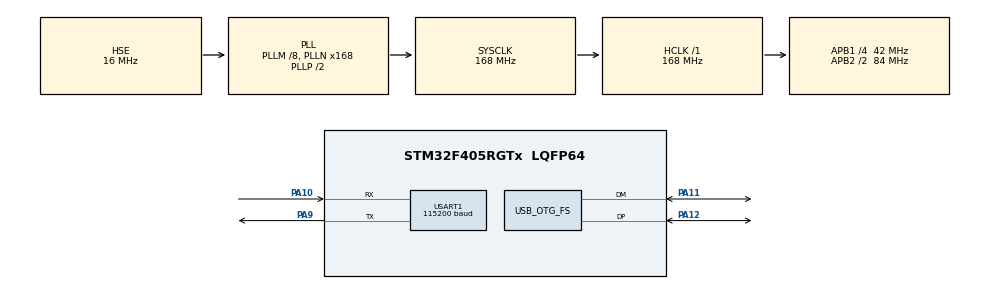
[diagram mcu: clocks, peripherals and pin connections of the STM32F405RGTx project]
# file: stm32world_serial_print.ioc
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Mcu.Family=STM32F4
Mcu.Name=STM32F405RGTx
Mcu.Package=LQFP64
NVIC.OTG_FS_IRQn=true\:0\:0\:false\:false\:true\:false\:true\:true
NVIC.PriorityGroup=NVIC_PRIORITYGROUP_4
PA10.Mode=Asynchronous
PA10.Signal=USART1_RX
PA11.Mode=Device_Only
PA11.Signal=USB_OTG_FS_DM
PA12.Mode=Device_Only
PA12.Signal=USB_OTG_FS_DP
PA13.Mode=Trace_Asynchronous_SW
PA13.Signal=SYS_JTMS-SWDIO
PA14.Mode=Trace_Asynchronous_SW
PA14.Signal=SYS_JTCK-SWCLK
PA9.Mode=Asynchronous
PA9.Signal=USART1_TX
PB3.Mode=Trace_Asynchronous_SW
PB3.Signal=SYS_JTDO-SWO
PH0-OSC_IN.Mode=HSE-External-Oscillator
PH0-OSC_IN.Signal=RCC_OSC_IN
PH1-OSC_OUT.Mode=HSE-External-Oscillator
PH1-OSC_OUT.Signal=RCC_OSC_OUT
ProjectManager.HeapSize=0x200
ProjectManager.StackSize=0x400
ProjectManager.TargetToolchain=STM32CubeIDE
RCC.48MHZClocksFreq_Value=48000000
RCC.AHBFreq_Value=168000000
RCC.APB1CLKDivider=RCC_HCLK_DIV4
RCC.APB1Freq_Value=42000000
RCC.APB1TimFreq_Value=84000000
RCC.APB2CLKDivider=RCC_HCLK_DIV2
RCC.APB2Freq_Value=84000000
RCC.APB2TimFreq_Value=168000000
RCC.CortexFreq_Value=168000000
RCC.HCLKFreq_Value=168000000
RCC.HSE_VALUE=16000000
RCC.HSI_VALUE=16000000
RCC.LSE_VALUE=32768
RCC.PLLM=8
RCC.PLLN=168
RCC.PLLQ=7
RCC.PLLSourceVirtual=RCC_PLLSOURCE_HSE
RCC.SYSCLKFreq_VALUE=168000000
RCC.SYSCLKSource=RCC_SYSCLKSOURCE_PLLCLK
RCC.VCOOutputFreq_Value=336000000
USART1.BaudRate=115200
USART1.VirtualMode=VM_ASYNC
USB_DEVICE.CLASS_NAME_FS=CDC
USB_DEVICE.MANUFACTURER_STRING-CDC_FS=STM32World
USB_DEVICE.PRODUCT_STRING_CDC_FS=Virtual ComPort
USB_DEVICE.VirtualMode-CDC_FS=Cdc
USB_DEVICE.VirtualModeFS=Cdc_FS
USB_OTG_FS.VirtualMode=Device_Only
VP_USB_DEVICE_VS_USB_DEVICE_CDC_FS.Mode=CDC_FS
board=custom

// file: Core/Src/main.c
/* USER CODE BEGIN Header */
/**
 ******************************************************************************
 * @file           : main.c
 * @brief          : Main program body
 ******************************************************************************
 * @attention
 *
 * Copyright (c) 2024 Lars Boegild Thomsen <lbthomsen@gmail.com>
 * All rights reserved.
 *
 * This software is licensed under terms that can be found in the LICENSE file
 * in the root directory of this software component.
 * If no LICENSE file comes with this software, it is provided AS-IS.
 *
 ******************************************************************************
 */
/* USER CODE END Header */
#include "main.h"
#include "usb_device.h"

/* USER CODE BEGIN Includes */
#include <stdio.h>
#include "usbd_cdc_if.h"
/* USER CODE END Includes */

UART_HandleTypeDef huart1;

void SystemClock_Config(void);
static void MX_GPIO_Init(void);
static void MX_USART1_UART_Init(void);

/* USER CODE BEGIN 0 */

//int __io_putchar(int ch) {
//    if (HAL_UART_Transmit(&huart1, (uint8_t *)&ch, 1, HAL_MAX_DELAY) != HAL_OK) {
//        return -1;
//    }
//    return ch;
//}

int _write(int fd, char *ptr, int len) {
    HAL_StatusTypeDef hstatus;

    if (fd == 1 || fd == 2) {
      hstatus = HAL_UART_Transmit(&huart1, (uint8_t *) ptr, len, HAL_MAX_DELAY);
      if (hstatus == HAL_OK)
        return len;
      else
        return -1;
    }
    return -1;
}

//int __io_putchar(int ch) {
//    ITM_SendChar(ch);
//    return ch;
//}

//int _write(int file, char *ptr, int len) {
//    uint8_t status;
//    while((status = CDC_Transmit_FS((uint8_t*)ptr, len)) != HAL_OK) {
//        if (status == HAL_ERROR) return 0; // Should prevent "hanging"
//    }
//    return len;
//}

/* USER CODE END 0 */

int main(void)
{

  /* MCU Configuration--------------------------------------------------------*/

  /* Reset of all peripherals, Initializes the Flash interface and the Systick. */
  HAL_Init();

  /* Configure the system clock */
  SystemClock_Config();

  /* Initialize all configured peripherals */
  MX_GPIO_Init();
  MX_USART1_UART_Init();
  MX_USB_DEVICE_Init();
  /* USER CODE BEGIN 2 */

    //setbuf(stdout, NULL);

    printf("\n\n\n--------\nStarting\n");

  /* USER CODE END 2 */

  /* Infinite loop */
  /* USER CODE BEGIN WHILE */

    uint32_t loop = 0, now = 0, next_tick = 1000;

    while (1)
    {

        now = uwTick;

        if (now >= next_tick) {
            printf("Tick %lu (loop = %lu)\n", now / 1000, loop);
            //printf("."); //fflush(stdout);
            loop = 0;
            next_tick = now + 1000;
        }

        ++loop;

    /* USER CODE END WHILE */

    }
}

void SystemClock_Config(void)
{
  RCC_OscInitTypeDef RCC_OscInitStruct = {0};
  RCC_ClkInitTypeDef RCC_ClkInitStruct = {0};

  /** Configure the main internal regulator output voltage
  */
  __HAL_RCC_PWR_CLK_ENABLE();
  __HAL_PWR_VOLTAGESCALING_CONFIG(PWR_REGULATOR_VOLTAGE_SCALE1);

  /** Initializes the RCC Oscillators according to the specified parameters
  * in the RCC_OscInitTypeDef structure.
  */
  RCC_OscInitStruct.OscillatorType = RCC_OSCILLATORTYPE_HSE;
  RCC_OscInitStruct.HSEState = RCC_HSE_ON;
  RCC_OscInitStruct.PLL.PLLState = RCC_PLL_ON;
  RCC_OscInitStruct.PLL.PLLSource = RCC_PLLSOURCE_HSE;
  RCC_OscInitStruct.PLL.PLLM = 8;
  RCC_OscInitStruct.PLL.PLLN = 168;
  RCC_OscInitStruct.PLL.PLLP = RCC_PLLP_DIV2;
  RCC_OscInitStruct.PLL.PLLQ = 7;
  if (HAL_RCC_OscConfig(&RCC_OscInitStruct) != HAL_OK)
  {
    Error_Handler();
  }

  /** Initializes the CPU, AHB and APB buses clocks
  */
  RCC_ClkInitStruct.ClockType = RCC_CLOCKTYPE_HCLK|RCC_CLOCKTYPE_SYSCLK
                              |RCC_CLOCKTYPE_PCLK1|RCC_CLOCKTYPE_PCLK2;
  RCC_ClkInitStruct.SYSCLKSource = RCC_SYSCLKSOURCE_PLLCLK;
  RCC_ClkInitStruct.AHBCLKDivider = RCC_SYSCLK_DIV1;
  RCC_ClkInitStruct.APB1CLKDivider = RCC_HCLK_DIV4;
  RCC_ClkInitStruct.APB2CLKDivider = RCC_HCLK_DIV2;

  if (HAL_RCC_ClockConfig(&RCC_ClkInitStruct, FLASH_LATENCY_5) != HAL_OK)
  {
    Error_Handler();
  }
}

static void MX_USART1_UART_Init(void)
{

  huart1.Instance = USART1;
  huart1.Init.BaudRate = 115200;
  huart1.Init.WordLength = UART_WORDLENGTH_8B;
  huart1.Init.StopBits = UART_STOPBITS_1;
  huart1.Init.Parity = UART_PARITY_NONE;
  huart1.Init.Mode = UART_MODE_TX_RX;
  huart1.Init.HwFlowCtl = UART_HWCONTROL_NONE;
  huart1.Init.OverSampling = UART_OVERSAMPLING_16;
  if (HAL_UART_Init(&huart1) != HAL_OK)
  {
    Error_Handler();
  }

}

static void MX_GPIO_Init(void)
{

  /* GPIO Ports Clock Enable */
  __HAL_RCC_GPIOH_CLK_ENABLE();
  __HAL_RCC_GPIOA_CLK_ENABLE();
  __HAL_RCC_GPIOB_CLK_ENABLE();

}

void Error_Handler(void)
{
    __disable_irq();
    while (1)
    {
    }
}
